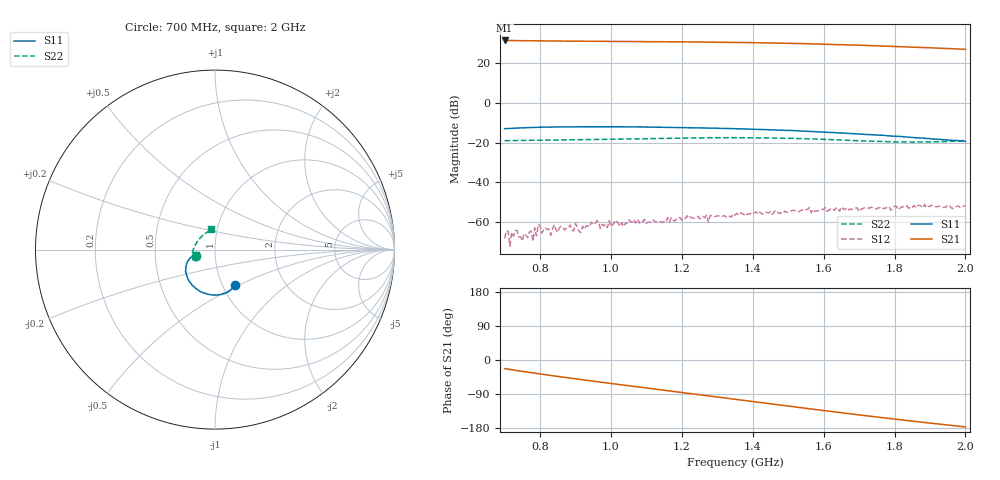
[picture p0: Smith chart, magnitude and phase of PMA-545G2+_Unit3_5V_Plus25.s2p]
!Mini-Circuits Laboratory
!S-Parameters
!Model: PMA-545G2+
!Run / Lot / Date Code: N/A / N/A / NA
!Fixture: NA; TEST BOARD: TB-607+
!AUTO PORT EXTENSION DONE: PORT<1>=120.99ps; PORT<2>=143.047ps
!Network Analyzer: PNA-X N5242A - 423 4 ports;  Serial number: 71256
!Date: 1/11/2011
!S/N: Unit# 3
# Hz  S  dB  R  50
!Frequency  S11 dB  S11 Deg  S21 dB  S21 Deg  S12 dB  S12 Deg  S22 dB  S22 Deg
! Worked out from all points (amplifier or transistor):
!   261 points, 700 MHz to 2 GHz, reference 50 ohm
!   highest |S21| = 31.6 dB at 700 MHz (marker M1)
!   |S21| within 3 dB of that: start of sweep to 1.799 GHz
!   unconditionally stable (mu >= 1): start of sweep to end of sweep
!   at 915 MHz: K = 23.72, MAG = 31.5 dB, |S12| = -65.4 dB
!   at 1.35 GHz: K = 9.18, MAG = 30.9 dB, |S12| = -56.5 dB
!   at 2 GHz: K = 8.13, MAG = 27.2 dB, |S12| = -51.5 dB
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7e8  -12.92 -60.0  31.57 -22.7  -68.28 144.7  -19.00 -160.1
7.15e8  -12.77 -61.7  31.53 -25.0  -72.16 91.1  -18.94 -159.4
7.55e8  -12.46 -66.6  31.44 -30.7  -65.80 154.3  -18.82 -158.0
7.8e8  -12.29 -69.4  31.39 -34.2  -69.65 124.9  -18.73 -157.5
7.95e8  -12.23 -71.1  31.36 -36.2  -61.03 137.5  -18.78 -156.7
8.05e8  -12.18 -72.3  31.35 -37.5  -65.56 133.8  -18.73 -156.2
8.55e8  -12.02 -78.0  31.27 -44.0  -62.75 137.5  -18.62 -154.8
9.2e8  -11.94 -85.3  31.19 -52.2  -62.09 136.4  -18.47 -152.7
9.85e8  -11.93 -92.5  31.11 -60.1  -61.04 133.7  -18.29 -151.2
1.035e9  -11.98 -98.1  31.07 -66.1  -62.30 131.7  -18.12 -150.2
1.135e9  -12.12 -108.6  30.96 -78.0  -59.60 130.3  -17.82 -149.5
1.19e9  -12.28 -114.3  30.88 -84.6  -57.60 128.6  -17.67 -150.3
1.245e9  -12.47 -119.7  30.80 -91.1  -57.09 119.2  -17.57 -151.6
1.35e9  -12.90 -129.9  30.59 -103.7  -56.48 119.0  -17.43 -156.5
1.445e9  -13.46 -138.3  30.33 -115.0  -55.41 116.8  -17.57 -162.6
1.51e9  -13.83 -144.0  30.10 -122.8  -54.30 109.8  -17.75 -168.4
1.57e9  -14.38 -148.4  29.84 -129.9  -53.60 112.3  -18.11 -175.3
1.67e9  -15.29 -154.9  29.35 -141.5  -53.84 98.7  -18.72 170.9
1.725e9  -15.84 -157.9  29.04 -147.7  -52.90 101.1  -19.16 161.5
1.785e9  -16.55 -160.5  28.67 -154.3  -52.54 94.0  -19.50 149.5
1.88e9  -17.71 -163.2  28.02 -164.5  -52.78 97.1  -19.64 128.5
2e9  -19.31 -164.0  27.12 -176.6  -51.54 93.2  -18.83 100.8
